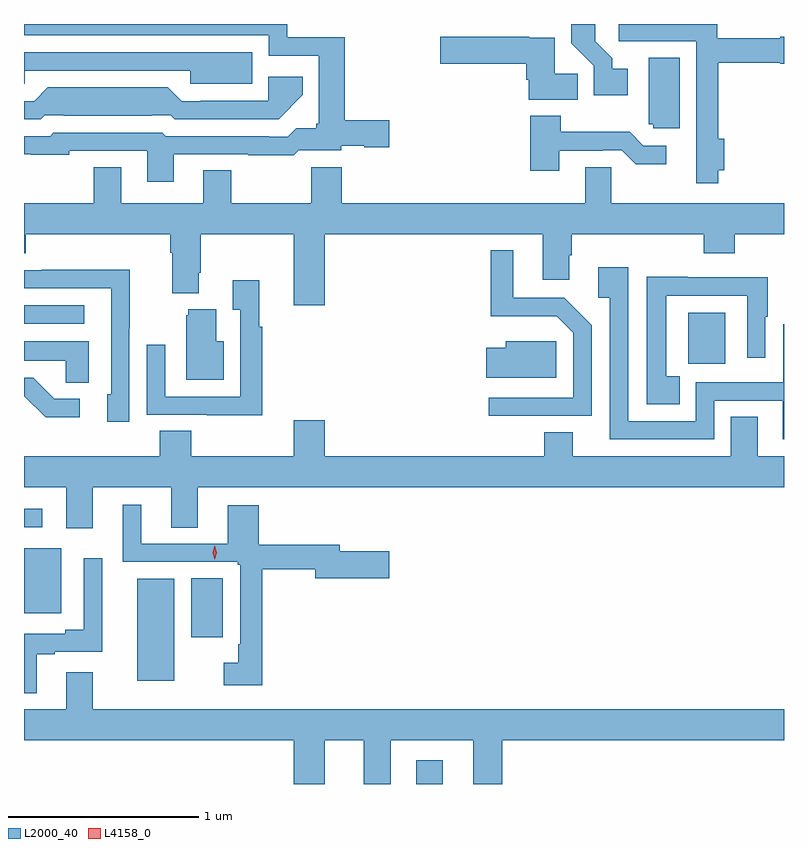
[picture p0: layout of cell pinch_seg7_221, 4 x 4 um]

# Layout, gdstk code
import gdstk
lib = gdstk.Library(unit=1e-6, precision=1e-09)
def R(c, l, rs):  # rectangles x0, y0, x1, y1
    for r in rs: c.add(gdstk.rectangle(r[:2], r[2:], *l))
def P(c, l, *ps):  # polygons
    for p in ps: c.add(gdstk.Polygon(p, *l))
L2000_40 = (2000, 40)
L4158_0 = (4158, 0)

pinch_seg7_221 = lib.new_cell('pinch_seg7_221')
R(pinch_seg7_221, L2000_40, [(848.969,1057.663,849.109,1057.789), (847.499,1058.207,847.696,1058.743), (847.784,1058.436,847.951,1058.747), (846.904,1058.561,847.099,1058.905), (846.904,1059.015,847,1059.111), (850.4,1059.876,850.594,1060.144), (846.904,1060.086,847.222,1060.182)])
P(pinch_seg7_221, L2000_40, [(850.559,1060.892),(850.589,1060.892),(850.589,1061.058),(850.559,1061.058),(850.559,1061.458),(850.884,1061.458),(850.884,1061.453),(850.904,1061.453),(850.904,1061.595),(850.884,1061.595),(850.884,1061.587),(850.552,1061.587),(850.552,1061.663),(850.035,1061.663),(850.035,1061.571),(850.443,1061.571),(850.443,1061.046),(850.442,1061.046),(850.442,1060.824),(850.559,1060.824)],
  [(850.081,1061.428),(850,1061.428),(850,1061.483),(849.91,1061.573),(849.91,1061.663),(849.784,1061.663),(849.784,1061.562),(849.903,1061.443),(849.903,1061.288),(850.081,1061.288)],
  [(847.693,1060.977),(848.083,1060.977),(848.083,1060.972),(848.323,1060.972),(848.349,1060.998),(848.574,1060.998),(848.574,1061.021),(848.694,1061.021),(848.694,1061.014),(848.827,1061.014),(848.827,1061.156),(848.591,1061.156),(848.591,1061.592),(848.289,1061.592),(848.289,1061.663),(846.904,1061.663),(846.904,1061.604),(848.193,1061.604),(848.193,1061.496),(848.456,1061.496),(848.456,1061.139),(848.442,1061.139),(848.442,1061.115),(848.337,1061.115),(848.292,1061.07),(848.192,1061.07),(848.192,1061.073),(847.65,1061.073),(847.632,1061.091),(847.059,1061.091),(847.041,1061.073),(846.904,1061.073),(846.904,1060.977),(846.943,1060.977),(846.943,1060.975),(847.143,1060.975),(847.143,1060.995),(847.553,1060.995),(847.553,1060.833),(847.693,1060.833)],
  [(849.818,1061.402),(849.697,1061.402),(849.697,1061.59),(849.564,1061.59),(849.564,1061.595),(849.096,1061.595),(849.096,1061.453),(849.548,1061.453),(849.548,1061.369),(849.56,1061.369),(849.56,1061.264),(849.818,1061.264)],
  [(846.908,1061.418),(847.778,1061.418),(847.778,1061.348),(848.105,1061.348),(848.105,1061.515),(847.876,1061.515),(847.876,1061.514),(846.904,1061.514),(846.904,1061.348),(846.908,1061.348)],
  [(850.354,1061.485),(850.193,1061.485),(850.193,1061.136),(850.215,1061.136),(850.215,1061.115),(850.354,1061.115)],
  [(847.014,1061.184),(847.114,1061.184),(847.114,1061.18),(847.577,1061.18),(847.577,1061.184),(847.677,1061.184),(847.698,1061.163),(848.244,1061.163),(848.371,1061.29),(848.371,1061.386),(848.19,1061.386),(848.19,1061.259),(847.834,1061.259),(847.834,1061.256),(847.734,1061.256),(847.661,1061.329),(847.03,1061.329),(846.957,1061.256),(846.904,1061.256),(846.904,1061.163),(846.993,1061.163)],
  [(849.721,1060.995),(849.95,1060.995),(849.95,1060.998),(850.05,1060.998),(850.123,1060.925),(850.285,1060.925),(850.285,1061.022),(850.164,1061.022),(850.091,1061.095),(849.729,1061.095),(849.729,1061.179),(849.569,1061.179),(849.569,1060.89),(849.721,1060.89)],
  [(849.635,1060.317),(849.775,1060.317),(849.775,1060.445),(849.788,1060.445),(849.788,1060.556),(850.481,1060.556),(850.481,1060.457),(850.646,1060.457),(850.646,1060.556),(850.904,1060.556),(850.904,1060.72),(849.996,1060.72),(849.996,1060.91),(849.857,1060.91),(849.857,1060.72),(848.576,1060.72),(848.576,1060.909),(848.416,1060.909),(848.416,1060.72),(847.995,1060.72),(847.995,1060.892),(847.847,1060.892),(847.847,1060.72),(847.417,1060.72),(847.417,1060.91),(847.27,1060.91),(847.27,1060.72),(846.904,1060.72),(846.904,1060.457),(846.914,1060.457),(846.914,1060.556),(847.673,1060.556),(847.673,1060.46),(847.685,1060.46),(847.685,1060.247),(847.825,1060.247),(847.825,1060.354),(847.833,1060.354),(847.833,1060.556),(848.324,1060.556),(848.324,1060.182),(848.488,1060.182),(848.488,1060.556),(849.635,1060.556)],
  [(849.891,1060.078),(849.748,1060.221),(849.478,1060.221),(849.478,1060.471),(849.361,1060.471),(849.361,1060.124),(849.709,1060.124),(849.795,1060.038),(849.795,1059.696),(849.351,1059.696),(849.351,1059.6),(849.891,1059.6)],
  [(850.536,1059.681),(850.898,1059.681),(850.898,1059.477),(850.904,1059.477),(850.904,1060.084),(850.899,1060.084),(850.899,1059.777),(850.44,1059.777),(850.44,1059.573),(850.083,1059.573),(850.083,1060.384),(849.927,1060.384),(849.927,1060.223),(849.987,1060.223),(849.987,1059.477),(850.536,1059.477)],
  [(847.458,1060.063),(847.461,1060.063),(847.461,1060.37),(846.997,1060.37),(846.997,1060.368),(846.904,1060.368),(846.904,1060.272),(847.362,1060.272),(847.362,1059.714),(847.343,1059.714),(847.343,1059.57),(847.458,1059.57)],
  [(850.355,1059.809),(850.285,1059.809),(850.285,1060.233),(850.71,1060.233),(850.71,1059.906),(850.806,1059.906),(850.806,1060.122),(850.819,1060.122),(850.819,1060.329),(850.397,1060.329),(850.397,1060.332),(850.181,1060.332),(850.181,1059.662),(850.355,1059.662)],
  [(848.159,1060.07),(848.141,1060.07),(848.141,1060.315),(848.003,1060.315),(848.003,1060.159),(848.043,1060.159),(848.043,1059.702),(847.647,1059.702),(847.647,1059.976),(847.551,1059.976),(847.551,1059.606),(847.867,1059.606),(847.867,1059.605),(848.159,1059.605)],
  [(847.954,1059.994),(847.915,1059.994),(847.915,1060.162),(847.769,1060.162),(847.769,1060.131),(847.757,1060.131),(847.757,1059.791),(847.954,1059.791)],
  [(847.246,1059.994),(846.904,1059.994),(846.904,1059.89),(847.125,1059.89),(847.125,1059.775),(847.246,1059.775)],
  [(849.705,1059.994),(849.44,1059.994),(849.44,1059.958),(849.336,1059.958),(849.336,1059.8),(849.705,1059.8)],
  [(847.198,1059.69),(847.063,1059.69),(846.952,1059.801),(846.904,1059.801),(846.904,1059.705),(846.906,1059.705),(847.019,1059.593),(847.198,1059.593)],
  [(847.267,1059.224),(847.679,1059.224),(847.679,1059.013),(847.819,1059.013),(847.819,1059.224),(850.904,1059.224),(850.904,1059.388),(850.765,1059.388),(850.765,1059.596),(850.625,1059.596),(850.625,1059.388),(849.793,1059.388),(849.793,1059.515),(849.641,1059.515),(849.641,1059.388),(848.488,1059.388),(848.488,1059.577),(848.324,1059.577),(848.324,1059.388),(847.784,1059.388),(847.784,1059.521),(847.619,1059.521),(847.619,1059.388),(846.904,1059.388),(846.904,1059.224),(847.127,1059.224),(847.127,1059.009),(847.267,1059.009)],
  [(848.159,1058.794),(848.438,1058.794),(848.438,1058.747),(848.827,1058.747),(848.827,1058.889),(848.566,1058.889),(848.566,1058.923),(848.14,1058.923),(848.14,1059.13),(847.976,1059.13),(847.976,1058.928),(847.522,1058.928),(847.522,1059.133),(847.424,1059.133),(847.424,1058.832),(848.028,1058.832),(848.028,1058.817),(848.043,1058.817),(848.043,1058.398),(848.031,1058.398),(848.031,1058.302),(847.956,1058.302),(847.956,1058.183),(848.159,1058.183)],
  [(846.97,1058.346),(847.066,1058.346),(847.066,1058.358),(847.316,1058.358),(847.316,1058.851),(847.218,1058.851),(847.218,1058.474),(847.121,1058.474),(847.121,1058.454),(846.904,1058.454),(846.904,1058.141),(846.97,1058.141)],
  [(848.488,1057.892),(848.693,1057.892),(848.693,1057.663),(848.833,1057.663),(848.833,1057.892),(849.269,1057.892),(849.269,1057.663),(849.422,1057.663),(849.422,1057.892),(850.904,1057.892),(850.904,1058.056),(847.267,1058.056),(847.267,1058.251),(847.127,1058.251),(847.127,1058.056),(846.904,1058.056),(846.904,1057.892),(848.324,1057.892),(848.324,1057.663),(848.488,1057.663)])
P(pinch_seg7_221, L4158_0, [(847.909,1058.844),(847.909,1058.845),(847.898,1058.88),(847.907,1058.916),(847.907,1058.917),(847.908,1058.916),(847.918,1058.881),(847.909,1058.845)])

lib.write_gds('pinch_seg7_221.gds')
